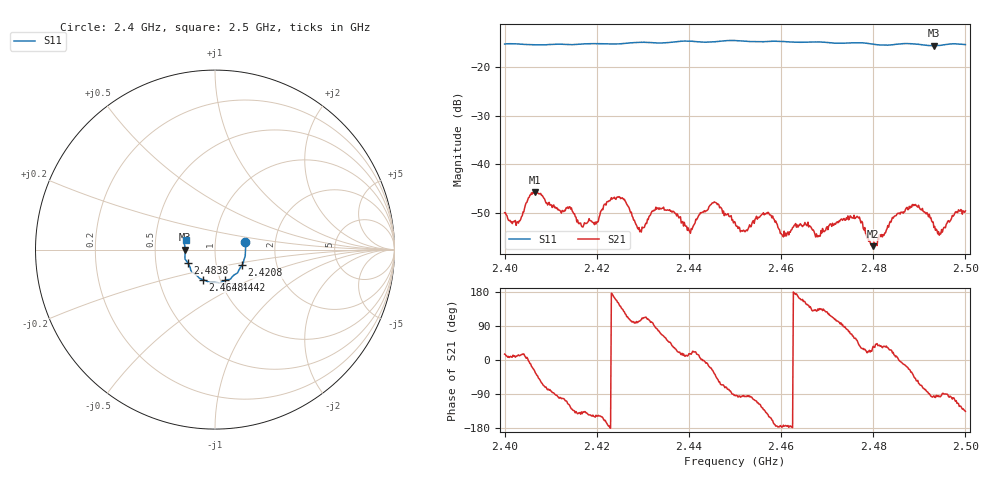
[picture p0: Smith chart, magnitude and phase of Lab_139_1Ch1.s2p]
# Hz S RI R 50
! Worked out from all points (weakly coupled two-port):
!   601 points, 2.4 GHz to 2.5 GHz, reference 50 ohm
!   highest |S21| = -45.66 dB at 2.4065 GHz (marker M1); lowest = -56.8 dB at 2.48 GHz (marker M2)
!   lowest |S11| = -15.6 dB at 2.4932 GHz (marker M3), VSWR 1.40, Z = 35.8 - j0.0759 ohm
!   |S11| at or under -10 dB: start of sweep to end of sweep
!   S12 and S22 are empty: the file has one direction only
!   S11 on the Smith chart (normalised r, x): 2.4 GHz: 1.40, +0.12; 2.4208 GHz: 1.33, -0.24; 2.4442 GHz: 1.05, -0.37; 2.4648 GHz: 0.83, -0.29; 2.4838 GHz: 0.73, -0.11; 2.5 GHz: 0.72, +0.08
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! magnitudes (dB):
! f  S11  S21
! 2.4 GHz  -15.3  -49.9
! 2.403 GHz  -15.2  -52.1
! 2.4065 GHz  -15.4  -45.7
! 2.4167 GHz  -15.2  -52.7
! 2.4208 GHz  -15.2  -49.7
! 2.4252 GHz  -15.2  -47.0
! 2.4295 GHz  -14.9  -53.6
! 2.4333 GHz  -15.0  -49.0
! 2.4402 GHz  -14.7  -53.9
! 2.4442 GHz  -14.9  -49.3
! 2.45 GHz  -14.5  -51.9
! 2.4567 GHz  -14.7  -50.2
! 2.4603 GHz  -14.7  -54.6
! 2.4648 GHz  -14.9  -52.6
! 2.4667 GHz  -14.8  -53.3
! 2.4763 GHz  -15.0  -50.8
! 2.48 GHz  -15.3  -56.8
! 2.4833 GHz  -15.5  -52.9
! 2.4838 GHz  -15.4  -51.9
! 2.489 GHz  -15.2  -48.5
! 2.4932 GHz  -15.6  -53.0
! 2.5 GHz  -15.4  -49.6
